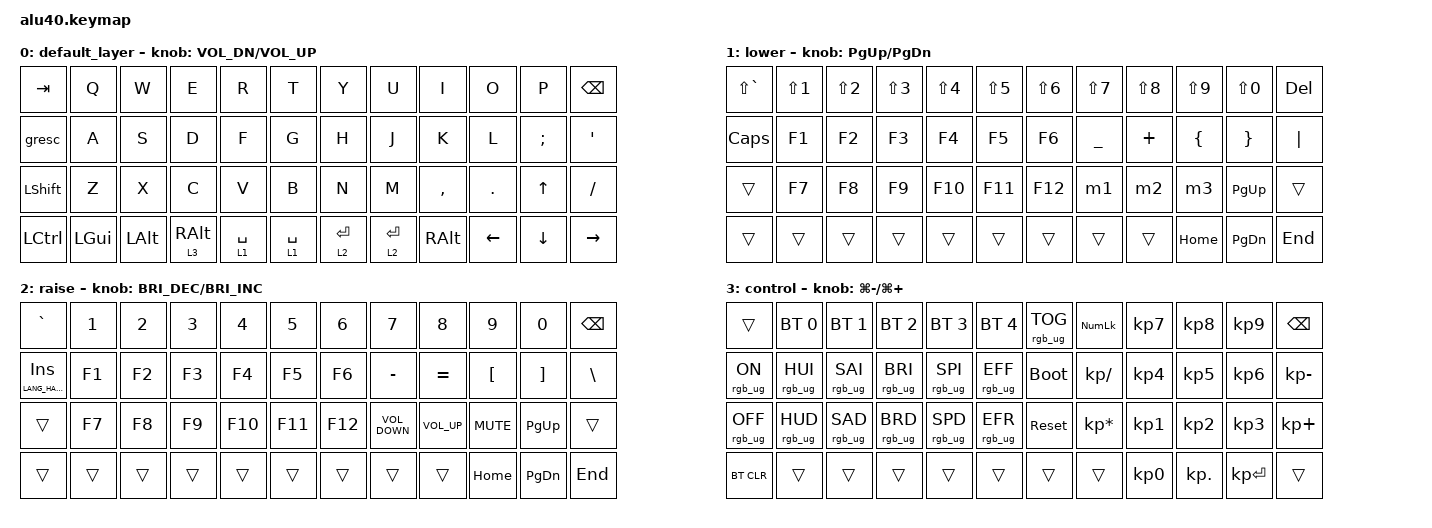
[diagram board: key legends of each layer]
/*
 * Copyright (c) 2022 The ZMK Contributors
 *
 * SPDX-License-Identifier: MIT
 */

#include <behaviors.dtsi>
#include <dt-bindings/zmk/bt.h>
#include <dt-bindings/zmk/keys.h>
#include <dt-bindings/zmk/rgb.h>

/ {
    macros {
        m1: m1 {
            compatible = "zmk,behavior-macro";
            #binding-cells = <0>;
            bindings = <&none &kp LS(K) &kp R &kp I &kp F &kp N3 &kp N7 &kp N1 &kp N3 &kp EXCL &kp AT>;
            label = "M1";
        };

        m2: m2 {
            compatible = "zmk,behavior-macro";
            #binding-cells = <0>;
            bindings = <&none &kp D &kp Y &kp N1 &kp N2 &kp N1 &kp N2 &kp DOT &kp L &kp E &kp E>;
            label = "M2";
        };

        m3: m3 {
            compatible = "zmk,behavior-macro";
            #binding-cells = <0>;
            bindings = <&none &kp H &kp E &kp A &kp L &kp O &kp R &kp AT &kp G &kp M &kp A &kp I &kp L &kp DOT &kp C &kp O &kp M>;
            label = "M3";
        };
    };

    keymap {
        compatible = "zmk,keymap";

        default_layer {
            // -----------------------------------------------------------------------------------------
            // | ESC/~ |  Q   |  W   |  E   |  R   |  T   |   Y   |  U    |  I   |  O   |   P   | BSPC  |
            // | TAB   |  A   |  S   |  D   |  F   |  G   |   H   |  J    |  K   |  L   |   ;   |  '    |
            // | SHIFT |  Z   |  X   |  C   |  V   |  B   |   N   |  M    |  ,   |  .   |   /   |RET/SFT|
            // | PLAY  | LCTL | LALT | LGUI | LOWR |     SPACE    |  RAIS | LARW | UARW | DARW  |  RARW |

            bindings = <
&kp TAB           &kp Q         &kp W     &kp E            &kp R        &kp T        &kp Y        &kp U        &kp I      &kp O     &kp P     &kp BSPC
&gresc            &kp A         &kp S     &kp D            &kp F        &kp G        &kp H        &kp J        &kp K      &kp L     &kp SEMI  &kp SQT
&kp LSHFT         &kp Z         &kp X     &kp C            &kp V        &kp B        &kp N        &kp M        &kp COMMA  &kp DOT   &kp UP    &kp SLASH
&kp LEFT_CONTROL  &kp LEFT_GUI  &kp LALT  &lt 3 RIGHT_ALT  &lt 1 SPACE  &lt 1 SPACE  &lt 2 ENTER  &lt 2 ENTER  &kp RALT   &kp LEFT  &kp DOWN  &kp RIGHT
            >;

            sensor-bindings = <&inc_dec_kp C_VOL_DN C_VOL_UP>;
        };

        lower {
            bindings = <
&kp LS(GRAVE)  &kp LS(N1)  &kp LS(N2)  &kp LS(N3)  &kp LS(N4)  &kp LS(N5)  &kp LS(N6)  &kp LS(N7)  &kp LS(N8)  &kp LS(N9)  &kp LS(N0)     &kp DEL
&kp CAPSLOCK   &kp F1      &kp F2      &kp F3      &kp F4      &kp F5      &kp F6      &kp UNDER   &kp PLUS    &kp LBRC    &kp RBRC       &kp PIPE
&trans         &kp F7      &kp F8      &kp F9      &kp F10     &kp F11     &kp F12     &m1         &m2         &m3         &kp PAGE_UP    &trans
&trans         &trans      &trans      &trans      &trans      &trans      &trans      &trans      &trans      &kp HOME    &kp PAGE_DOWN  &kp END
            >;

            sensor-bindings = <&inc_dec_kp PG_UP PG_DN>;
        };

        raise {
            bindings = <
&kp GRAVE              &kp N1  &kp N2  &kp N3  &kp N4   &kp N5   &kp N6   &kp N7             &kp N8           &kp N9      &kp N0         &kp BACKSPACE
&mt LANG_HANJA INSERT  &kp F1  &kp F2  &kp F3  &kp F4   &kp F5   &kp F6   &kp MINUS          &kp EQUAL        &kp LBKT    &kp RBKT       &kp BSLH
&trans                 &kp F7  &kp F8  &kp F9  &kp F10  &kp F11  &kp F12  &kp C_VOLUME_DOWN  &kp C_VOLUME_UP  &kp C_MUTE  &kp PAGE_UP    &trans
&trans                 &trans  &trans  &trans  &trans   &trans   &trans   &trans             &trans           &kp HOME    &kp PAGE_DOWN  &kp END
            >;

            sensor-bindings = <&inc_dec_kp C_BRI_DEC C_BRI_INC>;
        };

        control {
            bindings = <
&trans           &bt BT_SEL 0     &bt BT_SEL 1     &bt BT_SEL 2     &bt BT_SEL 3     &bt BT_SEL 4     &rgb_ug RGB_TOG  &kp KP_NUM       &kp KP_NUMBER_7  &kp KP_NUMBER_8  &kp KP_NUMBER_9  &kp BACKSPACE
&rgb_ug RGB_ON   &rgb_ug RGB_HUI  &rgb_ug RGB_SAI  &rgb_ug RGB_BRI  &rgb_ug RGB_SPI  &rgb_ug RGB_EFF  &bootloader      &kp KP_DIVIDE    &kp KP_NUMBER_4  &kp KP_NUMBER_5  &kp KP_NUMBER_6  &kp KP_MINUS
&rgb_ug RGB_OFF  &rgb_ug RGB_HUD  &rgb_ug RGB_SAD  &rgb_ug RGB_BRD  &rgb_ug RGB_SPD  &rgb_ug RGB_EFR  &sys_reset       &kp KP_MULTIPLY  &kp KP_NUMBER_1  &kp KP_NUMBER_2  &kp KP_NUMBER_3  &kp KP_PLUS
&bt BT_CLR       &trans           &trans           &trans           &trans           &trans           &trans           &trans           &kp KP_NUMBER_0  &kp KP_DOT       &kp KP_ENTER     &trans
            >;

            sensor-bindings = <&inc_dec_kp LG(MINUS) LG(PLUS)>;
        };

        extra1 { status = "reserved"; };

        extra2 { status = "reserved"; };

        extra3 { status = "reserved"; };

        extra4 { status = "reserved"; };
    };
};
